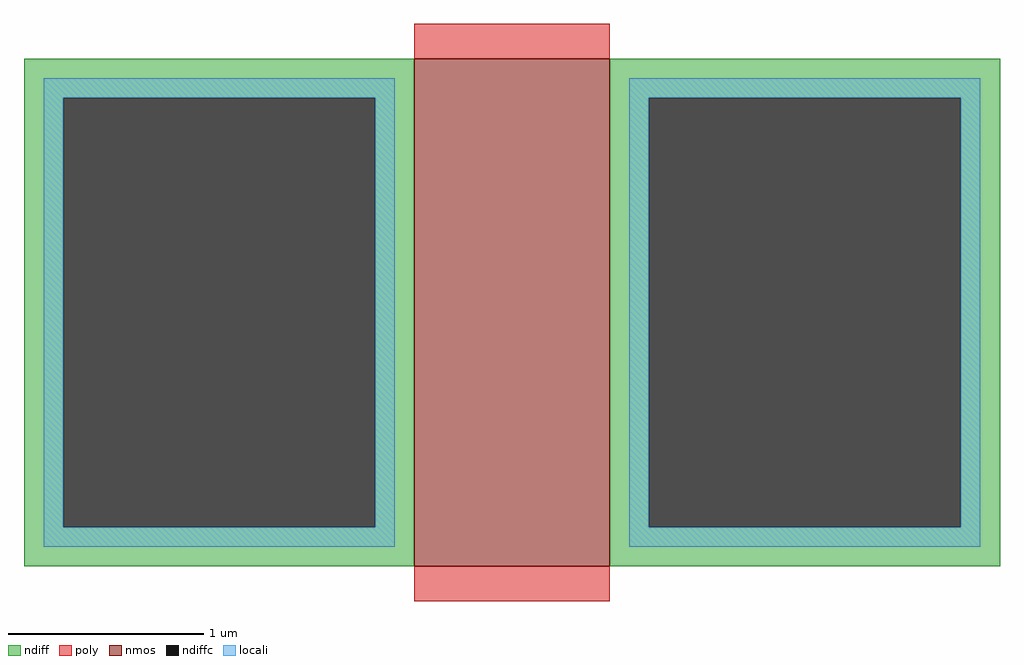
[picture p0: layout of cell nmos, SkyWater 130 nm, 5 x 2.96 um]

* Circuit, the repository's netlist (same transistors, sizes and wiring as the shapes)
* SPICE3 file created from nmos.ext - technology: sky130A

X0 a_300_n260# a_200_n278# a_0_n260# SUB sky130_fd_pr__nfet_01v8 ad=0p pd=0u as=0p ps=0u w=2.6e+06u l=1e+06u

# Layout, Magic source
magic
tech sky130A
<< nmos >>
rect 200 -260 300 0
<< ndiff >>
rect 0 -20 200 0
rect 0 -240 20 -20
rect 180 -240 200 -20
rect 0 -260 200 -240
rect 300 -20 500 0
rect 300 -240 320 -20
rect 480 -240 500 -20
rect 300 -260 500 -240
<< ndiffc >>
rect 20 -240 180 -20
rect 320 -240 480 -20
<< poly >>
rect 200 0 300 18
rect 200 -278 300 -260
<< locali >>
rect 10 -20 190 -10
rect 10 -240 20 -20
rect 180 -240 190 -20
rect 10 -250 190 -240
rect 310 -20 490 -10
rect 310 -240 320 -20
rect 480 -240 490 -20
rect 310 -250 490 -240
<< end >>
